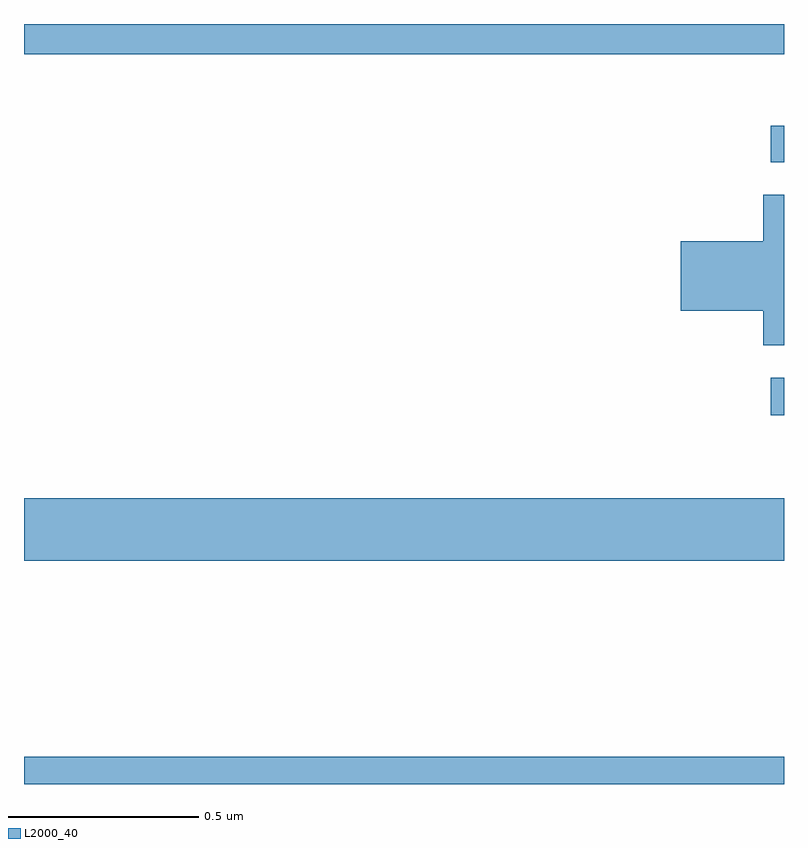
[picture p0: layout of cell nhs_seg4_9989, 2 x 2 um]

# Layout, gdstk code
import gdstk
lib = gdstk.Library(unit=1e-6, precision=1e-09)
def R(c, l, rs):  # rectangles x0, y0, x1, y1
    for r in rs: c.add(gdstk.rectangle(r[:2], r[2:], *l))
def P(c, l, *ps):  # polygons
    for p in ps: c.add(gdstk.Polygon(p, *l))
L2000_40 = (2000, 40)

nhs_seg4_9989 = lib.new_cell('nhs_seg4_9989')
R(nhs_seg4_9989, L2000_40, [(234,794.9,236,794.972), (234,795.488,236,795.652), (235.965,795.871,236,795.969), (235.965,796.536,236,796.632), (234,796.82,236,796.9)])
P(nhs_seg4_9989, L2000_40, [(236,796.451),(235.946,796.451),(235.946,796.328),(235.728,796.328),(235.728,796.145),(235.946,796.145),(235.946,796.054),(236,796.054)])

lib.write_gds('nhs_seg4_9989.gds')
